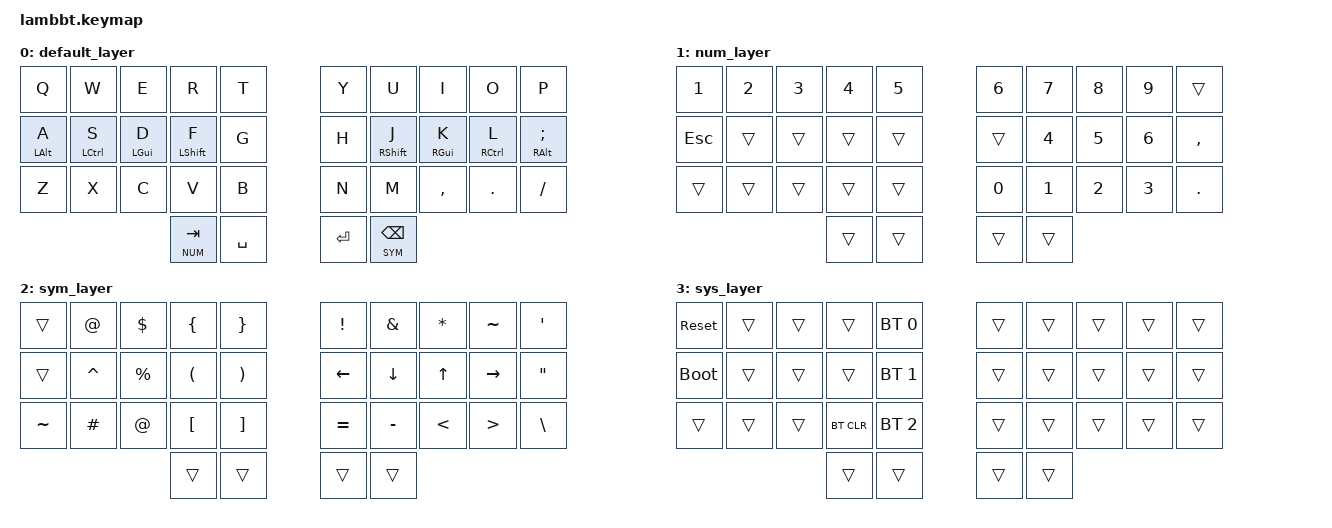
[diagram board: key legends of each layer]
// Copyright (c) 2022 The ZMK Contributors
// SPDX-License-Identifier: MIT

#include <behaviors.dtsi>
#include <dt-bindings/zmk/keys.h>
#include <dt-bindings/zmk/bt.h>
#include <dt-bindings/zmk/outputs.h>

#define NUM 1
#define SYM 2
#define SYS 3


/ {
    combos {
        #include "combos.dtsi"    
    };

    behaviors {
        ht: hold_tap {
            compatible = "zmk,behavior-hold-tap";
            #binding-cells = <2>;
            flavor = "tap-preferred";
            tapping-term-ms = <220>;
            quick-tap-ms = <150>;
            require-prior-idle-ms = <100>;
            bindings = <&kp>, <&kp>;
        };
    };

    conditional_layers {
      compatible = "zmk,conditional-layers";
      tri_layer {
        if-layers = <1 2>;
        then-layer = <3>;
      };
    };

    keymap {
        compatible = "zmk,keymap";
        default_layer {
            bindings = <
        //╭──────────┬──────────┬──────────┬──────────┬──────────╮   ╭──────────┬──────────┬──────────┬──────────┬──────────╮
        //│  Q       │  W       │  E       │  R       │  T       │   │  Y       │  U       │  I       │  O       │  P       │
            &kp Q      &kp W      &kp E      &kp R      &kp T          &kp Y      &kp U      &kp I      &kp O      &kp P
        //├──────────┼──────────┼──────────┼──────────┼──────────┤   ├──────────┼──────────┼──────────┼──────────┼──────────┤
        //│  A       │  S       │  D       │  F       │  G       │   │  H       │  J       │  K       │  L       │   ;      │
           &ht LALT A &ht LCTRL S &ht LGUI D &ht LSHFT F &kp G         &kp H    &ht RSHFT J &ht RGUI K &ht RCTRL L &ht RALT SEMI
        //  HRML(A,        S,         D,         F)     &kp G          &kp H      HRMR(J,        K,         L,        ;)
        //├──────────┼──────────┼──────────┼──────────┼──────────┤   ├──────────┼──────────┼──────────┼──────────┼──────────┤
        //│  Z       │  X       │  C       │  V       │  B       │   │  N       │  M       │ , <      │ . >      │ / ?      │
            &kp Z      &kp X      &kp C      &kp V      &kp B          &kp N      &kp M      &kp COMMA  &kp DOT    &kp FSLH
        //╰──────────┴──────────┴──────────┼──────────┼──────────┤   ├──────────┼──────────┼──────────┴──────────┴──────────╯
                                           &lt NUM TAB &kp SPACE      &kp RET   &lt SYM BSPC
        //                                 ╰──────────┴──────────╯   ╰──────────┴──────────╯
        >;
        };

        num_layer {
            bindings = <
        //╭──────────┬──────────┬──────────┬──────────┬──────────╮   ╭──────────┬──────────┬──────────┬──────────┬──────────╮
        //│          │          │          │          │          │   │          │          │          │          │          │
            &kp N1     &kp N2     &kp N3     &kp N4     &kp N5          &kp N6     &kp N7     &kp N8     &kp N9      &trans
        //├──────────┼──────────┼──────────┼──────────┼──────────┤   ├──────────┼──────────┼──────────┼──────────┼──────────┤
        //│          │          │          │          │          │   │          │          │          │          │          │
            &kp ESC    &trans     &trans     &trans     &trans          &trans     &kp N4     &kp N5     &kp N6      &kp COMMA
        //├──────────┼──────────┼──────────┼──────────┼──────────┤   ├──────────┼──────────┼──────────┼──────────┼──────────┤
        //│          │          │          │          │          │   │          │          │          │          │          │
            &trans     &trans     &trans    &trans      &trans          &kp N0     &kp N1     &kp N2     &kp N3      &kp DOT
        //╰──────────┴──────────┴──────────┼──────────┼──────────┤   ├──────────┼──────────┼──────────┴──────────┴──────────╯
                                             &trans     &trans         &trans     &trans
        //                                 ╰──────────┴──────────╯   ╰──────────┴──────────╯
            >;
        };

        sym_layer {
            bindings = <
        //╭──────────┬──────────┬──────────┬──────────┬──────────╮   ╭──────────┬──────────┬──────────┬──────────┬──────────╮
        //│          │    @     │    $     │    {     │    }     │   │    !     │    &     │   *      │   ~      │    '     │
            &trans     &kp AT    &kp DLLR     &kp LBRC   &kp RBRC      &kp EXCL  &kp AMPS   &kp STAR   &kp TILDE   &kp SQT
        //├──────────┼──────────┼──────────┼──────────┼──────────┤   ├──────────┼──────────┼──────────┼──────────┼──────────┤
        //│          │   ^      │    %     │    (     │  )       │   │ LEFT     │ DOWN     │   UP     │  RIGHT   │    "     │
            &trans    &kp CARET  &kp PRCNT  &kp LPAR  &kp RPAR       &kp LEFT    &kp DOWN    &kp UP    &kp RIGHT   &kp DQT
        //├──────────┼──────────┼──────────┼──────────┼──────────┤   ├──────────┼──────────┼──────────┼──────────┼──────────┤
        //│    ~     │   #      │   @      │    [     │   ]      │   │   =      │   -      │  <       │ >        │    \     │
            &kp TILDE  &kp HASH   &kp AT     &kp LBKT  &kp RBKT       &kp EQUAL  &kp MINUS   &kp LT     &kp GT     &kp BSLH
        //╰──────────┴──────────┴──────────┼──────────┼──────────┤   ├──────────┼──────────┼──────────┴──────────┴──────────╯
                                                 &trans     &trans         &trans     &trans
        //                                 ╰──────────┴──────────╯   ╰──────────┴──────────╯
            >;
        };

        sys_layer {
            bindings = <
        //╭──────────┬──────────┬──────────┬──────────┬──────────╮   ╭──────────┬──────────┬──────────┬──────────┬──────────╮
        //│          │          │          │          │          │   │          │          │          │          │          │
            &sys_reset &trans     &trans     &trans    &bt BT_SEL 0   &trans     &trans     &trans     &trans      &trans
        //├──────────┼──────────┼──────────┼──────────┼──────────┤   ├──────────┼──────────┼──────────┼──────────┼──────────┤
        //│          │          │          │          │          │   │          │          │          │          │          │
          &bootloader  &trans     &trans     &trans    &bt BT_SEL 1   &trans     &trans     &trans     &trans      &trans
        //├──────────┼──────────┼──────────┼──────────┼──────────┤   ├──────────┼──────────┼──────────┼──────────┼──────────┤
        //│          │          │          │          │          │   │          │          │          │          │          │
            &trans     &trans     &trans    &bt BT_CLR &bt BT_SEL 2   &trans     &trans     &trans     &trans      &trans
        //╰──────────┴──────────┴──────────┼──────────┼──────────┤   ├──────────┼──────────┼──────────┴──────────┴──────────╯
                                             &trans     &trans         &trans     &trans
        //                                 ╰──────────┴──────────╯   ╰──────────┴──────────╯
            >;
        };
    };
};
